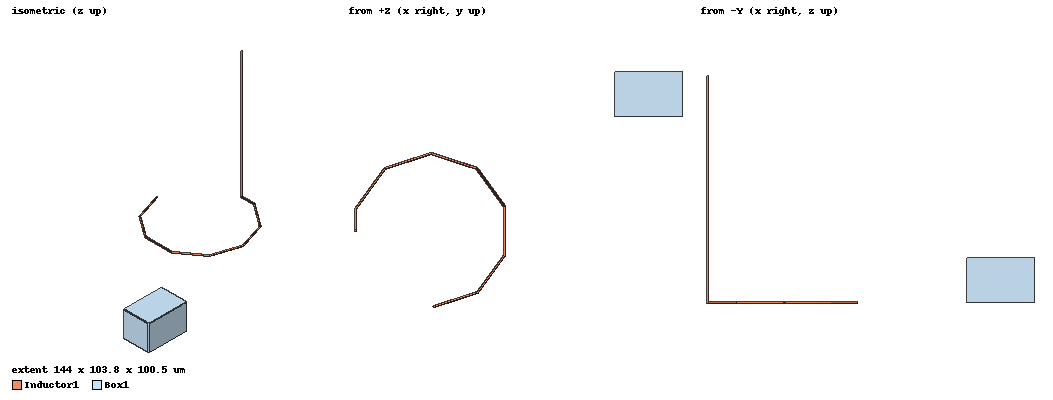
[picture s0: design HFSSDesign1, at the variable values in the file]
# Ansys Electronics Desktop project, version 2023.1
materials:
  vacuum: permittivity=1
  copper: permeability=0.999991 conductivity=58000000
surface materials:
  Steel-oxidised-surface

design HFSSDesign1 (HFSS, HFSS Terminal Network, model units um)
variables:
  pyaedt_evaluator = 0um  # Internal_Evaluator
  a = 32um
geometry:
  Inductor1 [copper] = polyline((0.4854102um, -33.368585um, 0um) (19.891677um, -27.063107um, 0um) (a, -10.39743um, 0um) (32um, 10.39743um, 0um) (19.662498um, 27.378545um, 0um) (-0.4854102um, 33.924997um, 0um) (-20.818728um, 27.318302um, 0um) (-33.5um, 9.8640289um, 0um) (-33.5um, 0um, 0um) (-33.5um, 0um, 100um), section circle width=1um)
  Polyline1 = polyline(z=0um, xy in um: (-40, 60) (-25, 75) (-45, 80) (-70, 65) (-80, 85) (-90, 65) (-105, 80) (-105, 45) (-73.776575, 54.339978) (-66.39479, 22.596527) (-130, 25) (-150, 35) (-140, 55), Spline from point 2 over 5, AngularArc from point 7 over 3 centre=(-85um, 35um, 0um) angle=-187.12502deg plane=XY, Arc from point 10 over 3)
  Box1 [vacuum] = box(corner=(80um, 50um, 0um), size=(30um, 20um, 20um))
  Polyline2 = polyline(z=0um, xy in um: (-180, -5) (-167.03006, -32.47838) (-136.97224, -28.027756), AngularArc from point 0 over 3 centre=(-155um, -10um, 0um) angle=146.30993deg plane=XY)
